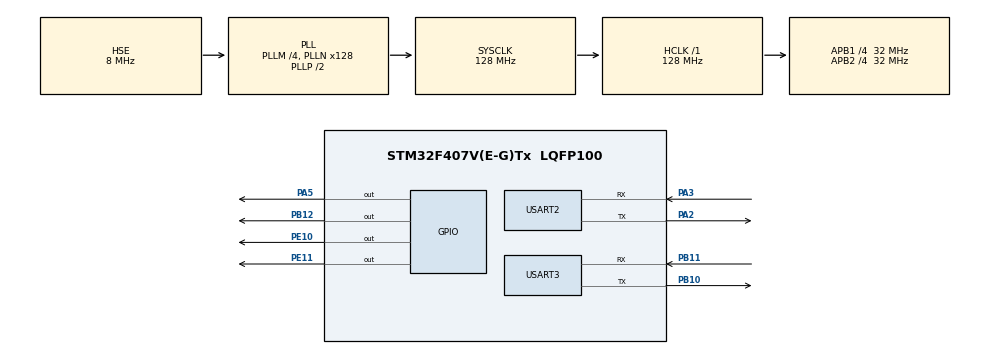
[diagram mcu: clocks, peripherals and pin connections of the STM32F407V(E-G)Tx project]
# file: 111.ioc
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Mcu.Family=STM32F4
Mcu.Name=STM32F407V(E-G)Tx
Mcu.Package=LQFP100
NVIC.PriorityGroup=NVIC_PRIORITYGROUP_4
NVIC.TIM1_UP_TIM10_IRQn=true\:0\:0\:false\:false\:true\:true\:true\:true
NVIC.USART2_IRQn=true\:0\:0\:false\:false\:true\:true\:true\:true
NVIC.USART3_IRQn=true\:0\:0\:false\:false\:true\:true\:true\:true
PA13.Mode=Serial_Wire
PA13.Signal=SYS_JTMS-SWDIO
PA14.Mode=Serial_Wire
PA14.Signal=SYS_JTCK-SWCLK
PA2.Mode=Asynchronous
PA2.Signal=USART2_TX
PA3.Mode=Asynchronous
PA3.Signal=USART2_RX
PA5.Signal=GPIO_Output
PB10.Mode=Asynchronous
PB10.Signal=USART3_TX
PB11.Mode=Asynchronous
PB11.Signal=USART3_RX
PB12.Signal=GPIO_Output
PE10.Signal=GPIO_Output
PE11.Signal=GPIO_Output
PH0-OSC_IN.Mode=HSE-External-Oscillator
PH0-OSC_IN.Signal=RCC_OSC_IN
PH1-OSC_OUT.Mode=HSE-External-Oscillator
PH1-OSC_OUT.Signal=RCC_OSC_OUT
ProjectManager.HeapSize=0x200
ProjectManager.StackSize=0x400
ProjectManager.TargetToolchain=MDK-ARM V5.32
RCC.48MHZClocksFreq_Value=64000000
RCC.AHBFreq_Value=128000000
RCC.APB1CLKDivider=RCC_HCLK_DIV4
RCC.APB1Freq_Value=32000000
RCC.APB1TimFreq_Value=64000000
RCC.APB2CLKDivider=RCC_HCLK_DIV4
RCC.APB2Freq_Value=32000000
RCC.APB2TimFreq_Value=64000000
RCC.CortexFreq_Value=128000000
RCC.HCLKFreq_Value=128000000
RCC.HSE_VALUE=8000000
RCC.HSI_VALUE=16000000
RCC.LSE_VALUE=32768
RCC.PLLM=4
RCC.PLLN=128
RCC.PLLSourceVirtual=RCC_PLLSOURCE_HSE
RCC.SYSCLKFreq_VALUE=128000000
RCC.SYSCLKSource=RCC_SYSCLKSOURCE_PLLCLK
RCC.VCOOutputFreq_Value=256000000
TIM1.Period=10000-1
TIM1.Prescaler=6400-1
USART2.VirtualMode=VM_ASYNC
USART3.VirtualMode=VM_ASYNC
VP_TIM1_VS_ClockSourceINT.Mode=Internal
board=custom

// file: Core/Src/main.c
/* USER CODE BEGIN Header */
/**
  ******************************************************************************
  * @file           : main.c
  * @brief          : Main program body
  ******************************************************************************
  * @attention
  *
  * Copyright (c) 2025 STMicroelectronics.
  * All rights reserved.
  *
  * This software is licensed under terms that can be found in the LICENSE file
  * in the root directory of this software component.
  * If no LICENSE file comes with this software, it is provided AS-IS.
  *
  ******************************************************************************
  */
/* USER CODE END Header */
#include "main.h"
#include "tim.h"
#include "usart.h"
#include "gpio.h"

/* USER CODE BEGIN Includes */
#include <string.h>

#define VOLTAGE_TEST 1
/* USER CODE END Includes */

/* USER CODE BEGIN PTD */
typedef enum {
  STATE_STOPPED,
  STATE_STARTING,
  STATE_STARTED
} SystemState;

#define RX_BUF_LEN  2048     //
typedef struct
{
    unsigned char rx_buf[RX_BUF_LEN];
    uint16_t data_length;
} rxStruct;
/* USER CODE END PTD */

/* USER CODE BEGIN PV */
uint8_t aRxBuffer2, aRxBuffer3;
rxStruct txS = {
        .rx_buf = {0},
        .data_length = 0
};
rxStruct rxS2 = {
        .rx_buf = {0},
        .data_length = 0
};

SystemState currentState = STATE_STOPPED;
/* USER CODE END PV */

void SystemClock_Config(void);

int main(void)
{

  /* MCU Configuration--------------------------------------------------------*/

  /* Reset of all peripherals, Initializes the Flash interface and the Systick. */
  HAL_Init();

  /* Configure the system clock */
  SystemClock_Config();

  /* Initialize all configured peripherals */
  MX_GPIO_Init();
  MX_TIM1_Init();
  MX_USART2_UART_Init();
  MX_USART3_UART_Init();
  /* USER CODE BEGIN 2 */
	HAL_UART_Receive_IT(&huart2, (uint8_t *)&aRxBuffer2, 1); //
  HAL_UART_Receive_IT(&huart3, (uint8_t *)&aRxBuffer3, 1); //
  HAL_GPIO_WritePin(GPIOB, GPIO_PIN_12, GPIO_PIN_SET);
	HAL_GPIO_WritePin(GPIOE, GPIO_PIN_10, GPIO_PIN_SET);
	HAL_GPIO_WritePin(GPIOE, GPIO_PIN_11, GPIO_PIN_SET);

#ifdef VOLTAGE_TEST
  HAL_GPIO_WritePin(GPIOA, GPIO_PIN_5, GPIO_PIN_SET); // ??PA5??
#endif
  /* USER CODE END 2 */

  /* Infinite loop */
  /* USER CODE BEGIN WHILE */
  while (1)
  {
    HAL_Delay(1000);
    HAL_GPIO_TogglePin(GPIOB, GPIO_PIN_12);
    /* USER CODE END WHILE */

  }
}

void SystemClock_Config(void)
{
  RCC_OscInitTypeDef RCC_OscInitStruct = {0};
  RCC_ClkInitTypeDef RCC_ClkInitStruct = {0};

  /** Configure the main internal regulator output voltage
  */
  __HAL_RCC_PWR_CLK_ENABLE();
  __HAL_PWR_VOLTAGESCALING_CONFIG(PWR_REGULATOR_VOLTAGE_SCALE1);

  /** Initializes the RCC Oscillators according to the specified parameters
  * in the RCC_OscInitTypeDef structure.
  */
  RCC_OscInitStruct.OscillatorType = RCC_OSCILLATORTYPE_HSE;
  RCC_OscInitStruct.HSEState = RCC_HSE_ON;
  RCC_OscInitStruct.PLL.PLLState = RCC_PLL_ON;
  RCC_OscInitStruct.PLL.PLLSource = RCC_PLLSOURCE_HSE;
  RCC_OscInitStruct.PLL.PLLM = 4;
  RCC_OscInitStruct.PLL.PLLN = 128;
  RCC_OscInitStruct.PLL.PLLP = RCC_PLLP_DIV2;
  RCC_OscInitStruct.PLL.PLLQ = 4;
  if (HAL_RCC_OscConfig(&RCC_OscInitStruct) != HAL_OK)
  {
    Error_Handler();
  }

  /** Initializes the CPU, AHB and APB buses clocks
  */
  RCC_ClkInitStruct.ClockType = RCC_CLOCKTYPE_HCLK|RCC_CLOCKTYPE_SYSCLK
                              |RCC_CLOCKTYPE_PCLK1|RCC_CLOCKTYPE_PCLK2;
  RCC_ClkInitStruct.SYSCLKSource = RCC_SYSCLKSOURCE_PLLCLK;
  RCC_ClkInitStruct.AHBCLKDivider = RCC_SYSCLK_DIV1;
  RCC_ClkInitStruct.APB1CLKDivider = RCC_HCLK_DIV4;
  RCC_ClkInitStruct.APB2CLKDivider = RCC_HCLK_DIV4;

  if (HAL_RCC_ClockConfig(&RCC_ClkInitStruct, FLASH_LATENCY_4) != HAL_OK)
  {
    Error_Handler();
  }
}

/* USER CODE BEGIN 4 */
#ifndef VOLTAGE_TEST
//TIM??????
void HAL_TIM_PeriodElapsedCallback (TIM_HandleTypeDef *htim)//????
{

	if(htim->Instance == TIM1)//??????1??????
	{
    if (currentState == STATE_STARTING) {
      currentState = STATE_STARTED;
      HAL_UART_Transmit(&huart3, (uint8_t *)rxS2.rx_buf, rxS2.data_length,6);
      rxS2.data_length = 0;
      __HAL_TIM_CLEAR_FLAG(&htim1, TIM_FLAG_UPDATE);//?????TIM?????????????
      __HAL_TIM_CLEAR_IT(&htim1, TIM_IT_UPDATE);//?????TIM??
      __HAL_TIM_SET_COUNTER(&htim1, 10000-10000); // ????1s
      HAL_TIM_Base_Start_IT(&htim1);//??????????TIM??
    }
    else if (currentState == STATE_STARTED) {
      currentState = STATE_STOPPED;
      HAL_GPIO_WritePin(GPIOA, GPIO_PIN_5, GPIO_PIN_RESET); // ??PA5??
      HAL_GPIO_WritePin(GPIOE, GPIO_PIN_11, GPIO_PIN_SET);
    }
  }
}

void HAL_UART_RxCpltCallback(UART_HandleTypeDef *huart)
{
  /* Prevent unused argument(s) compilation warning */
  UNUSED(huart);
  /* NOTE: This function Should not be modified, when the callback is needed,
           the HAL_UART_TxCpltCallback could be implemented in the user file
  */
  if(huart->Instance == USART2)
  {
    if ((currentState == STATE_STOPPED) || (currentState == STATE_STARTING)) {
      if ((rxS2.data_length >= RX_BUF_LEN-1)) //
      {
        rxS2.data_length = 0;
      }
      rxS2.rx_buf[rxS2.data_length++] = aRxBuffer2; //
    }

    if (currentState == STATE_STOPPED) {
      currentState = STATE_STARTING;
      HAL_GPIO_WritePin(GPIOA, GPIO_PIN_5, GPIO_PIN_SET); // ??PA5??
      HAL_GPIO_WritePin(GPIOE, GPIO_PIN_11, GPIO_PIN_RESET);
      __HAL_TIM_CLEAR_FLAG(&htim1, TIM_FLAG_UPDATE);//?????TIM?????????????
      __HAL_TIM_CLEAR_IT(&htim1, TIM_IT_UPDATE);//?????TIM??
      __HAL_TIM_SET_COUNTER(&htim1, 10000-50); // ????
      HAL_TIM_Base_Start_IT(&htim1);//??????????TIM??
    }
    else if (currentState == STATE_STARTED) {
      __HAL_TIM_CLEAR_FLAG(&htim1, TIM_FLAG_UPDATE);//??TIM??
      __HAL_TIM_CLEAR_IT(&htim1, TIM_IT_UPDATE);//??TIM??
      __HAL_TIM_SET_COUNTER(&htim1, 10000-10000); // ????
      HAL_TIM_Base_Start_IT(&htim1);//??????????TIM??
      HAL_UART_Transmit(&huart3, (uint8_t *)&aRxBuffer2, 1, 0); //
    }
    HAL_UART_Receive_IT(&huart2, (uint8_t *)&aRxBuffer2, 1); //
  }
  if (huart->Instance == USART3)
  {
		HAL_GPIO_WritePin(GPIOE, GPIO_PIN_10, GPIO_PIN_RESET);
    HAL_UART_Transmit(&huart2, (uint8_t *)&aRxBuffer3, 1, 0); //
    HAL_UART_Receive_IT(&huart3, (uint8_t *)&aRxBuffer3, 1); //
		HAL_GPIO_WritePin(GPIOE, GPIO_PIN_10, GPIO_PIN_SET);
  }
}

#endif
/* USER CODE END 4 */

void Error_Handler(void)
{
  __disable_irq();
  while (1)
  {
  }
}
